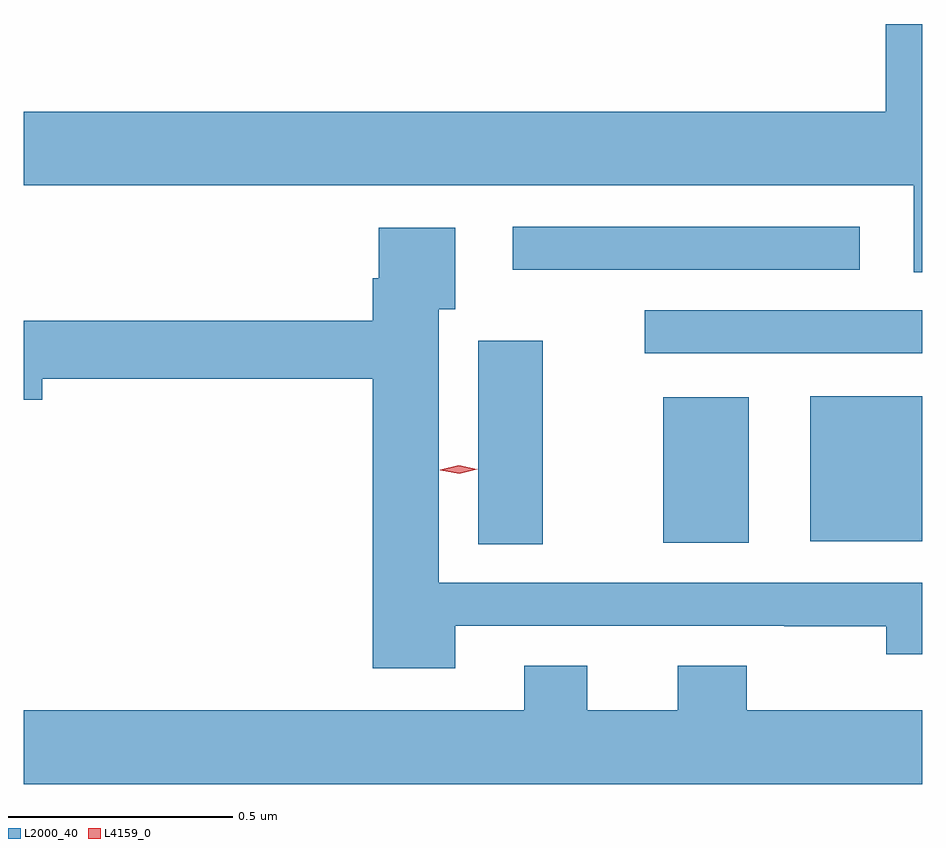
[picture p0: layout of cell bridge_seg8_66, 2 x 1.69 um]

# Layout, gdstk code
import gdstk
lib = gdstk.Library(unit=1e-6, precision=1e-09)
def R(c, l, rs):  # rectangles x0, y0, x1, y1
    for r in rs: c.add(gdstk.rectangle(r[:2], r[2:], *l))
def P(c, l, *ps):  # polygons
    for p in ps: c.add(gdstk.Polygon(p, *l))
L2000_40 = (2000, 40)
L4159_0 = (4159, 0)

bridge_seg8_66 = lib.new_cell('bridge_seg8_66')
R(bridge_seg8_66, L2000_40, [(1042.04,1101.049,1042.183,1101.502), (1042.451,1101.053,1042.642,1101.376), (1042.778,1101.056,1043.028,1101.379), (1042.41,1101.474,1043.028,1101.57), (1042.116,1101.66,1042.888,1101.756)])
P(bridge_seg8_66, L2000_40, [(1043.028,1102.207),(1042.946,1102.207),(1042.946,1102.012),(1041.028,1102.012),(1041.028,1101.848),(1043.009,1101.848),(1043.009,1101.655),(1043.028,1101.655)],
  [(1041.988,1100.868),(1042.72,1100.868),(1042.72,1100.867),(1042.948,1100.867),(1042.948,1100.805),(1043.028,1100.805),(1043.028,1100.964),(1041.952,1100.964),(1041.952,1101.572),(1041.988,1101.572),(1041.988,1101.754),(1041.818,1101.754),(1041.818,1101.641),(1041.805,1101.641),(1041.805,1101.547),(1041.028,1101.547),(1041.028,1101.371),(1041.07,1101.371),(1041.07,1101.418),(1041.805,1101.418),(1041.805,1100.774),(1041.988,1100.774)],
  [(1043.028,1100.68),(1042.637,1100.68),(1042.637,1100.779),(1042.484,1100.779),(1042.484,1100.68),(1042.282,1100.68),(1042.282,1100.779),(1042.142,1100.779),(1042.142,1100.68),(1041.028,1100.68),(1041.028,1100.516),(1043.028,1100.516)])
P(bridge_seg8_66, L4159_0, [(1041.997,1101.206),(1041.955,1101.214),(1041.955,1101.215),(1041.955,1101.215),(1041.996,1101.225),(1042.038,1101.216),(1042.038,1101.216),(1042.038,1101.216)])

lib.write_gds('bridge_seg8_66.gds')
